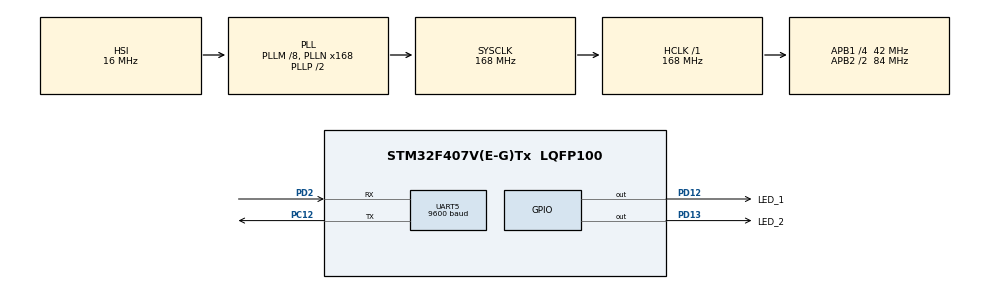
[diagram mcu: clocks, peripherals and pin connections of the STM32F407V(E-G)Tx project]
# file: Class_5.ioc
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Mcu.Family=STM32F4
Mcu.Name=STM32F407V(E-G)Tx
Mcu.Package=LQFP100
NVIC.PriorityGroup=NVIC_PRIORITYGROUP_4
PA13.Mode=Serial_Wire
PA13.Signal=SYS_JTMS-SWDIO
PA14.Mode=Serial_Wire
PA14.Signal=SYS_JTCK-SWCLK
PC12.Mode=Asynchronous
PC12.Signal=UART5_TX
PD12.GPIO_Label=LED_1
PD12.Signal=GPIO_Output
PD13.GPIO_Label=LED_2
PD13.Signal=GPIO_Output
PD2.Mode=Asynchronous
PD2.Signal=UART5_RX
PH0-OSC_IN.Mode=HSE-External-Oscillator
PH0-OSC_IN.Signal=RCC_OSC_IN
PH1-OSC_OUT.Mode=HSE-External-Oscillator
PH1-OSC_OUT.Signal=RCC_OSC_OUT
ProjectManager.HeapSize=0x200
ProjectManager.StackSize=0x400
ProjectManager.TargetToolchain=STM32CubeIDE
RCC.48MHZClocksFreq_Value=84000000
RCC.AHBFreq_Value=168000000
RCC.APB1CLKDivider=RCC_HCLK_DIV4
RCC.APB1Freq_Value=42000000
RCC.APB1TimFreq_Value=84000000
RCC.APB2CLKDivider=RCC_HCLK_DIV2
RCC.APB2Freq_Value=84000000
RCC.APB2TimFreq_Value=168000000
RCC.CortexFreq_Value=168000000
RCC.HCLKFreq_Value=168000000
RCC.HSE_VALUE=8000000
RCC.HSI_VALUE=16000000
RCC.LSE_VALUE=32768
RCC.PLLM=8
RCC.PLLN=168
RCC.SYSCLKFreq_VALUE=168000000
RCC.SYSCLKSource=RCC_SYSCLKSOURCE_PLLCLK
RCC.VCOOutputFreq_Value=336000000
UART5.BaudRate=9600
UART5.VirtualMode=Asynchronous
board=custom

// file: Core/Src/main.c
/* USER CODE BEGIN Header */
/**
  ******************************************************************************
  * @file           : main.c
  * @brief          : Main program body
  ******************************************************************************
  * @attention
  *
  * Copyright (c) 2023 STMicroelectronics.
  * All rights reserved.
  *
  * This software is licensed under terms that can be found in the LICENSE file
  * in the root directory of this software component.
  * If no LICENSE file comes with this software, it is provided AS-IS.
  *
  ******************************************************************************
  */
/* USER CODE END Header */
#include "main.h"

/* USER CODE BEGIN Includes */
#include "string.h"
#include "stdio.h"
/* USER CODE END Includes */

UART_HandleTypeDef huart5;

void SystemClock_Config(void);
static void MX_GPIO_Init(void);
static void MX_UART5_Init(void);

/* USER CODE BEGIN 0 */
char RxBuffer[5];
char TxBuffer[12];
int i=0;
uint8_t number;
/* USER CODE END 0 */

int main(void)
{

  /* MCU Configuration--------------------------------------------------------*/

  /* Reset of all peripherals, Initializes the Flash interface and the Systick. */
  HAL_Init();

  /* Configure the system clock */
  SystemClock_Config();

  /* Initialize all configured peripherals */
  MX_GPIO_Init();
  MX_UART5_Init();
  /* USER CODE BEGIN 2 */
  HAL_GPIO_WritePin(LED_2_GPIO_Port, LED_2_Pin, GPIO_PIN_SET);
  /* USER CODE END 2 */

  /* Infinite loop */
  while (1)
  {

    /* USER CODE BEGIN 3 */
	 HAL_UART_Receive(&huart5, (uint8_t *) RxBuffer, sizeof(RxBuffer), HAL_MAX_DELAY);

		  if(strcmp(RxBuffer,"led:1")==0)
		  {

			  HAL_GPIO_WritePin(LED_1_GPIO_Port, LED_1_Pin, GPIO_PIN_SET);
			  sprintf(TxBuffer, "LED HIGH\r\n");
			  HAL_UART_Transmit(&huart5, (uint8_t *) TxBuffer, sizeof(TxBuffer), HAL_MAX_DELAY);

		  }
		  else if(strcmp(RxBuffer,"led:0")==0)
		  {
			  HAL_GPIO_WritePin(LED_1_GPIO_Port, LED_1_Pin, GPIO_PIN_RESET);
			  sprintf(TxBuffer,"LED LOW\r\n");

			  HAL_UART_Transmit(&huart5, (uint8_t *) TxBuffer, sizeof(TxBuffer), HAL_MAX_DELAY);
		  }
	 }

/*
	  HAL_UART_Receive(&huart5, &number, sizeof(number), HAL_MAX_DELAY);
	  for(i=0;i<number;i++)
	  {
		  HAL_GPIO_WritePin(LED_1_GPIO_Port, LED_1_Pin, GPIO_PIN_SET);
		  HAL_Delay(500);
		  HAL_GPIO_WritePin(LED_1_GPIO_Port, LED_1_Pin, GPIO_PIN_RESET);
		  HAL_Delay(500);
	  }
*/

  /* USER CODE END 3 */
}

void SystemClock_Config(void)
{
  RCC_OscInitTypeDef RCC_OscInitStruct = {0};
  RCC_ClkInitTypeDef RCC_ClkInitStruct = {0};

  /** Configure the main internal regulator output voltage
  */
  __HAL_RCC_PWR_CLK_ENABLE();
  __HAL_PWR_VOLTAGESCALING_CONFIG(PWR_REGULATOR_VOLTAGE_SCALE1);
  /** Initializes the RCC Oscillators according to the specified parameters
  * in the RCC_OscInitTypeDef structure.
  */
  RCC_OscInitStruct.OscillatorType = RCC_OSCILLATORTYPE_HSI;
  RCC_OscInitStruct.HSIState = RCC_HSI_ON;
  RCC_OscInitStruct.HSICalibrationValue = RCC_HSICALIBRATION_DEFAULT;
  RCC_OscInitStruct.PLL.PLLState = RCC_PLL_ON;
  RCC_OscInitStruct.PLL.PLLSource = RCC_PLLSOURCE_HSI;
  RCC_OscInitStruct.PLL.PLLM = 8;
  RCC_OscInitStruct.PLL.PLLN = 168;
  RCC_OscInitStruct.PLL.PLLP = RCC_PLLP_DIV2;
  RCC_OscInitStruct.PLL.PLLQ = 4;
  if (HAL_RCC_OscConfig(&RCC_OscInitStruct) != HAL_OK)
  {
    Error_Handler();
  }
  /** Initializes the CPU, AHB and APB buses clocks
  */
  RCC_ClkInitStruct.ClockType = RCC_CLOCKTYPE_HCLK|RCC_CLOCKTYPE_SYSCLK
                              |RCC_CLOCKTYPE_PCLK1|RCC_CLOCKTYPE_PCLK2;
  RCC_ClkInitStruct.SYSCLKSource = RCC_SYSCLKSOURCE_PLLCLK;
  RCC_ClkInitStruct.AHBCLKDivider = RCC_SYSCLK_DIV1;
  RCC_ClkInitStruct.APB1CLKDivider = RCC_HCLK_DIV4;
  RCC_ClkInitStruct.APB2CLKDivider = RCC_HCLK_DIV2;

  if (HAL_RCC_ClockConfig(&RCC_ClkInitStruct, FLASH_LATENCY_5) != HAL_OK)
  {
    Error_Handler();
  }
}

static void MX_UART5_Init(void)
{

  huart5.Instance = UART5;
  huart5.Init.BaudRate = 9600;
  huart5.Init.WordLength = UART_WORDLENGTH_8B;
  huart5.Init.StopBits = UART_STOPBITS_1;
  huart5.Init.Parity = UART_PARITY_NONE;
  huart5.Init.Mode = UART_MODE_TX_RX;
  huart5.Init.HwFlowCtl = UART_HWCONTROL_NONE;
  huart5.Init.OverSampling = UART_OVERSAMPLING_16;
  if (HAL_UART_Init(&huart5) != HAL_OK)
  {
    Error_Handler();
  }

}

static void MX_GPIO_Init(void)
{
  GPIO_InitTypeDef GPIO_InitStruct = {0};

  /* GPIO Ports Clock Enable */
  __HAL_RCC_GPIOH_CLK_ENABLE();
  __HAL_RCC_GPIOD_CLK_ENABLE();
  __HAL_RCC_GPIOA_CLK_ENABLE();
  __HAL_RCC_GPIOC_CLK_ENABLE();

  /*Configure GPIO pin Output Level */
  HAL_GPIO_WritePin(GPIOD, LED_1_Pin|LED_2_Pin, GPIO_PIN_RESET);

  /*Configure GPIO pins : LED_1_Pin LED_2_Pin */
  GPIO_InitStruct.Pin = LED_1_Pin|LED_2_Pin;
  GPIO_InitStruct.Mode = GPIO_MODE_OUTPUT_PP;
  GPIO_InitStruct.Pull = GPIO_NOPULL;
  GPIO_InitStruct.Speed = GPIO_SPEED_FREQ_LOW;
  HAL_GPIO_Init(GPIOD, &GPIO_InitStruct);

}

void Error_Handler(void)
{
  __disable_irq();
  while (1)
  {
  }
}
